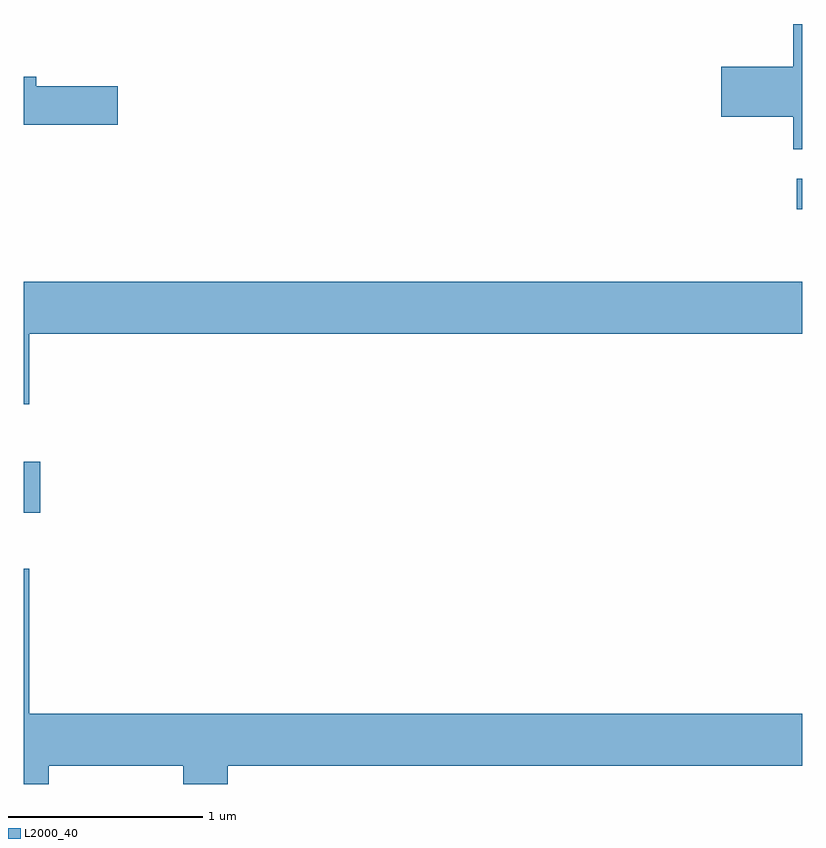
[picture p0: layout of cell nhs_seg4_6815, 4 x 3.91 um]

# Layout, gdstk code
import gdstk
lib = gdstk.Library(unit=1e-6, precision=1e-09)
def R(c, l, rs):  # rectangles x0, y0, x1, y1
    for r in rs: c.add(gdstk.rectangle(r[:2], r[2:], *l))
def P(c, l, *ps):  # polygons
    for p in ps: c.add(gdstk.Polygon(p, *l))
L2000_40 = (2000, 40)

nhs_seg4_6815 = lib.new_cell('nhs_seg4_6815')
R(nhs_seg4_6815, L2000_40, [(385.611,1289.376,385.694,1289.639), (389.583,1290.936,389.611,1291.094)])
P(nhs_seg4_6815, L2000_40, [(389.611,1291.889),(389.566,1291.889),(389.566,1291.669),(389.196,1291.669),(389.196,1291.411),(389.566,1291.411),(389.566,1291.246),(389.611,1291.246)],
  [(386.094,1291.569),(385.674,1291.569),(385.674,1291.619),(385.611,1291.619),(385.611,1291.371),(386.094,1291.371)],
  [(385.639,1290.296),(389.611,1290.296),(389.611,1290.564),(385.611,1290.564),(385.611,1289.933),(385.639,1289.933)],
  [(385.739,1288.076),(386.431,1288.076),(386.431,1287.982),(386.659,1287.982),(386.659,1288.076),(389.611,1288.076),(389.611,1288.344),(385.639,1288.344),(385.639,1289.088),(385.611,1289.088),(385.611,1287.982),(385.739,1287.982)])

lib.write_gds('nhs_seg4_6815.gds')
